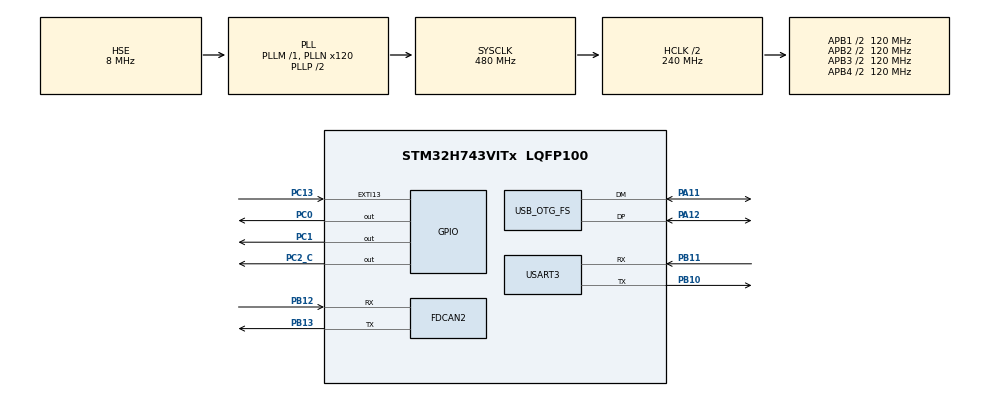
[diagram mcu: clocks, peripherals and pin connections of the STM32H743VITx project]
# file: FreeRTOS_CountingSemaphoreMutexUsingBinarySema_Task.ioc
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FDCAN2.CalculateBaudRateNominal=800000
FDCAN2.CalculateTimeBitNominal=1250
FDCAN2.CalculateTimeQuantumNominal=250.0
Mcu.Family=STM32H7
Mcu.Name=STM32H743VITx
Mcu.Package=LQFP100
NVIC.EXTI15_10_IRQn=true\:5\:0\:true\:false\:true\:true\:true\:true
NVIC.FDCAN2_IT0_IRQn=true\:0\:0\:false\:false\:true\:true\:true\:true
NVIC.FDCAN2_IT1_IRQn=true\:0\:0\:false\:false\:true\:true\:true\:true
NVIC.PriorityGroup=NVIC_PRIORITYGROUP_4
NVIC.TIM6_DAC_IRQn=true\:15\:0\:false\:false\:true\:false\:true\:true
NVIC.TimeBase=TIM6_DAC_IRQn
NVIC.TimeBaseIP=TIM6
NVIC.USART3_IRQn=true\:0\:0\:false\:false\:true\:true\:true\:true
PA11.Mode=Host_Only
PA11.Signal=USB_OTG_FS_DM
PA12.Mode=Host_Only
PA12.Signal=USB_OTG_FS_DP
PA13\ (JTMS/SWDIO).Mode=Trace_Asynchronous_SW
PA13\ (JTMS/SWDIO).Signal=DEBUG_JTMS-SWDIO
PA14\ (JTCK/SWCLK).Mode=Trace_Asynchronous_SW
PA14\ (JTCK/SWCLK).Signal=DEBUG_JTCK-SWCLK
PB10.Mode=Asynchronous
PB10.Signal=USART3_TX
PB11.Mode=Asynchronous
PB11.Signal=USART3_RX
PB12.Mode=FDCAN_Activate
PB12.Signal=FDCAN2_RX
PB13.Mode=FDCAN_Activate
PB13.Signal=FDCAN2_TX
PB3\ (JTDO/TRACESWO).Mode=Trace_Asynchronous_SW
PB3\ (JTDO/TRACESWO).Signal=DEBUG_JTDO-SWO
PC0.Signal=GPIO_Output
PC1.Signal=GPIO_Output
PC13.GPIO_ModeDefaultEXTI=GPIO_MODE_IT_RISING
PC13.GPIO_PuPd=GPIO_NOPULL
PC13.Signal=GPXTI13
PC2_C.Signal=GPIO_Output
PH0-OSC_IN\ (PH0).Mode=HSE-External-Oscillator
PH0-OSC_IN\ (PH0).Signal=RCC_OSC_IN
PH1-OSC_OUT\ (PH1).Mode=HSE-External-Oscillator
PH1-OSC_OUT\ (PH1).Signal=RCC_OSC_OUT
ProjectManager.HeapSize=0x200
ProjectManager.StackSize=0x400
ProjectManager.TargetToolchain=STM32CubeIDE
RCC.ADCFreq_Value=16125000
RCC.APB1Freq_Value=120000000
RCC.APB2Freq_Value=120000000
RCC.APB3Freq_Value=120000000
RCC.APB4Freq_Value=120000000
RCC.CortexFreq_Value=480000000
RCC.D1PPRE=RCC_APB3_DIV2
RCC.D2PPRE1=RCC_APB1_DIV2
RCC.D2PPRE2=RCC_APB2_DIV2
RCC.D3PPRE=RCC_APB4_DIV2
RCC.DIVM1=1
RCC.DIVN1=120
RCC.DIVQ1=15
RCC.HCLKFreq_Value=240000000
RCC.HPRE=RCC_HCLK_DIV2
RCC.HSE_VALUE=8000000
RCC.PLL1_VCI_Range-AdvancedSettings=RCC_PLL1VCIRANGE_0
RCC.PLL2FRACN=0
RCC.PLL2_VCI_Range-AdvancedSettings=RCC_PLL2VCIRANGE_0
RCC.PLL2_VCO_SEL-AdvancedSettings=RCC_PLL2VCOMEDIUM
RCC.PLL3FRACN=0
RCC.PLL3_VCI_Range-AdvancedSettings=RCC_PLL3VCIRANGE_0
RCC.PLL3_VCO_SEL-AdvancedSettings=RCC_PLL3VCOMEDIUM
RCC.PLLFRACN=0
RCC.PLLSourceVirtual=RCC_PLLSOURCE_HSE
RCC.SYSCLKFreq_VALUE=480000000
RCC.SYSCLKSource=RCC_SYSCLKSOURCE_PLLCLK
RCC.USBFreq_Value=64000000
USART3.VirtualMode-Asynchronous=VM_ASYNC
USB_OTG_FS.VirtualMode=Host_Only
USB_OTG_FS.phy_itface=HCD_PHY_EMBEDDED
VP_SYS_VS_tim6.Mode=TIM6
board=custom

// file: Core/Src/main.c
/* USER CODE BEGIN Header */
/**
  ******************************************************************************
  * @file           : main.c
  * @brief          : Main program body
  ******************************************************************************
  * @attention
  *
  * Copyright (c) 2022 STMicroelectronics.
  * All rights reserved.
  *
  * This software is licensed under terms that can be found in the LICENSE file
  * in the root directory of this software component.
  * If no LICENSE file comes with this software, it is provided AS-IS.
  *
  ******************************************************************************
  */
/* USER CODE END Header */
#include "main.h"

FDCAN_HandleTypeDef hfdcan2;

UART_HandleTypeDef huart3;

HCD_HandleTypeDef hhcd_USB_OTG_FS;

/* USER CODE BEGIN PV */
TaskHandle_t xTaskHandle1=NULL;
TaskHandle_t xTaskHandle2=NULL;

/* Declare a variable of type xSemaphoreHandle.  This is used to reference the
semaphore that is used to synchronize a task with an interrupt. */
xSemaphoreHandle xCountingSemaphore;
/* USER CODE END PV */

void SystemClock_Config(void);
static void MX_GPIO_Init(void);
static void MX_FDCAN2_Init(void);
static void MX_USB_OTG_FS_HCD_Init(void);
static void MX_USART3_UART_Init(void);
/* USER CODE BEGIN PFP */
extern void SEGGER_UART_init(U32 baud);
void printmsg(char *format,...);
void USART_Send(char* user_data);
/* The tasks to be created. */
static void vHandlerTask( void *pvParameters );
static void vPeriodicTask( void *pvParameters );
/* USER CODE END PFP */

/* USER CODE BEGIN 0 */
char user_msg[250];
char *user_data = "";
char usr_msg[250]={0};

//#ifdef USE_SEMIHOSTING
//extern void initialise_monitor_handles(void);
//#endif
/* USER CODE END 0 */

int main(void)
{

  /* MCU Configuration--------------------------------------------------------*/

  /* Reset of all peripherals, Initializes the Flash interface and the Systick. */
  HAL_Init();

  /* Configure the system clock */
  SystemClock_Config();

  /* Initialize all configured peripherals */
  MX_GPIO_Init();
  MX_FDCAN2_Init();
  MX_USB_OTG_FS_HCD_Init();
  MX_USART3_UART_Init();
  /* USER CODE BEGIN 2 */
  // Start LED
    int Start_Counter = 0;
    while(Start_Counter < 5)
    {
  	  HAL_GPIO_TogglePin(GPIOC, LED_Blue_PIN);
  	  HAL_Delay(200);
  	  HAL_GPIO_TogglePin(GPIOC, LED_Blue_PIN);
  	  HAL_Delay(200);
  	  Start_Counter++;
    }

    //user_data = "Start of program\r\n";
    	//HAL_UART_Transmit(&huart2,(uint8_t*)user_data,strlen(user_data), HAL_MAX_DELAY);

    	// Enable CCYCCNT Counter for SEGGER SYSTEM VIEW
    	DWT->CTRL |= (1 << 0);

    	// Used for SEGGER UART
    	SEGGER_UART_init(500000);

    	//Starting SEGGER SYSVIEW
    	  SEGGER_SYSVIEW_Conf();
    	  //SEGGER_SYSVIEW_Start();

	  sprintf(usr_msg,"Demo of usage of counting semaphore\r\n");
	  USART_Send(usr_msg);

		  /* Before a semaphore is used it must be explicitly created.  In this example
		a counting semaphore is created.  The semaphore is created to have a maximum
		count value of 10, and an initial count value of 0. */
		  xCountingSemaphore = xSemaphoreCreateCounting( 10, 0 );

		/* Check the semaphore was created successfully. */
		if( xCountingSemaphore != NULL )
		{

			/* Create the 'handler' task.  This is the task that will be synchronized
			with the interrupt.  The handler task is created with a high priority to
			ensure it runs immediately after the interrupt exits.  In this case a
			priority of 3 is chosen. */
			xTaskCreate( vHandlerTask, "Handler", 500, NULL, 1, NULL );

			/* Create the task that will periodically generate a software interrupt.
			This is created with a priority below the handler task to ensure it will
			get preempted each time the handler task exist the Blocked state. */
			xTaskCreate( vPeriodicTask, "Periodic", 500, NULL, 3, NULL );

			/* Start the scheduler so the created tasks start executing. */
			vTaskStartScheduler();
		}

		  /* If all is well we will never reach here as the scheduler will now be
		  running the tasks.  If we do reach here then it is likely that there was
		  insufficient heap memory available for a resource to be created. */
		for( ;; );

  /* USER CODE END 2 */

  /* Infinite loop */
  while (1)
  {

    /* USER CODE BEGIN 3 */
  	  HAL_GPIO_TogglePin(GPIOC, LED_Green_PIN);
  	  HAL_Delay(500);
  	  HAL_GPIO_TogglePin(GPIOC, LED_Green_PIN);
  	  HAL_Delay(500);
  	  Start_Counter++;
  }
  /* USER CODE END 3 */
}

void SystemClock_Config(void)
{
  RCC_OscInitTypeDef RCC_OscInitStruct = {0};
  RCC_ClkInitTypeDef RCC_ClkInitStruct = {0};

  /** Supply configuration update enable
  */
  HAL_PWREx_ConfigSupply(PWR_LDO_SUPPLY);

  /** Configure the main internal regulator output voltage
  */
  __HAL_PWR_VOLTAGESCALING_CONFIG(PWR_REGULATOR_VOLTAGE_SCALE1);

  while(!__HAL_PWR_GET_FLAG(PWR_FLAG_VOSRDY)) {}

  __HAL_RCC_SYSCFG_CLK_ENABLE();
  __HAL_PWR_VOLTAGESCALING_CONFIG(PWR_REGULATOR_VOLTAGE_SCALE0);

  while(!__HAL_PWR_GET_FLAG(PWR_FLAG_VOSRDY)) {}

  /** Initializes the RCC Oscillators according to the specified parameters
  * in the RCC_OscInitTypeDef structure.
  */
  RCC_OscInitStruct.OscillatorType = RCC_OSCILLATORTYPE_HSE;
  RCC_OscInitStruct.HSEState = RCC_HSE_ON;
  RCC_OscInitStruct.PLL.PLLState = RCC_PLL_ON;
  RCC_OscInitStruct.PLL.PLLSource = RCC_PLLSOURCE_HSE;
  RCC_OscInitStruct.PLL.PLLM = 1;
  RCC_OscInitStruct.PLL.PLLN = 120;
  RCC_OscInitStruct.PLL.PLLP = 2;
  RCC_OscInitStruct.PLL.PLLQ = 15;
  RCC_OscInitStruct.PLL.PLLR = 2;
  RCC_OscInitStruct.PLL.PLLRGE = RCC_PLL1VCIRANGE_3;
  RCC_OscInitStruct.PLL.PLLVCOSEL = RCC_PLL1VCOWIDE;
  RCC_OscInitStruct.PLL.PLLFRACN = 0;
  if (HAL_RCC_OscConfig(&RCC_OscInitStruct) != HAL_OK)
  {
    Error_Handler();
  }

  /** Initializes the CPU, AHB and APB buses clocks
  */
  RCC_ClkInitStruct.ClockType = RCC_CLOCKTYPE_HCLK|RCC_CLOCKTYPE_SYSCLK
                              |RCC_CLOCKTYPE_PCLK1|RCC_CLOCKTYPE_PCLK2
                              |RCC_CLOCKTYPE_D3PCLK1|RCC_CLOCKTYPE_D1PCLK1;
  RCC_ClkInitStruct.SYSCLKSource = RCC_SYSCLKSOURCE_PLLCLK;
  RCC_ClkInitStruct.SYSCLKDivider = RCC_SYSCLK_DIV1;
  RCC_ClkInitStruct.AHBCLKDivider = RCC_HCLK_DIV2;
  RCC_ClkInitStruct.APB3CLKDivider = RCC_APB3_DIV2;
  RCC_ClkInitStruct.APB1CLKDivider = RCC_APB1_DIV2;
  RCC_ClkInitStruct.APB2CLKDivider = RCC_APB2_DIV2;
  RCC_ClkInitStruct.APB4CLKDivider = RCC_APB4_DIV2;

  if (HAL_RCC_ClockConfig(&RCC_ClkInitStruct, FLASH_LATENCY_4) != HAL_OK)
  {
    Error_Handler();
  }
}

static void MX_FDCAN2_Init(void)
{

  hfdcan2.Instance = FDCAN2;
  hfdcan2.Init.FrameFormat = FDCAN_FRAME_CLASSIC;
  hfdcan2.Init.Mode = FDCAN_MODE_NORMAL;
  hfdcan2.Init.AutoRetransmission = DISABLE;
  hfdcan2.Init.TransmitPause = DISABLE;
  hfdcan2.Init.ProtocolException = DISABLE;
  hfdcan2.Init.NominalPrescaler = 16;
  hfdcan2.Init.NominalSyncJumpWidth = 1;
  hfdcan2.Init.NominalTimeSeg1 = 2;
  hfdcan2.Init.NominalTimeSeg2 = 2;
  hfdcan2.Init.DataPrescaler = 1;
  hfdcan2.Init.DataSyncJumpWidth = 1;
  hfdcan2.Init.DataTimeSeg1 = 1;
  hfdcan2.Init.DataTimeSeg2 = 1;
  hfdcan2.Init.MessageRAMOffset = 0;
  hfdcan2.Init.StdFiltersNbr = 0;
  hfdcan2.Init.ExtFiltersNbr = 0;
  hfdcan2.Init.RxFifo0ElmtsNbr = 0;
  hfdcan2.Init.RxFifo0ElmtSize = FDCAN_DATA_BYTES_8;
  hfdcan2.Init.RxFifo1ElmtsNbr = 0;
  hfdcan2.Init.RxFifo1ElmtSize = FDCAN_DATA_BYTES_8;
  hfdcan2.Init.RxBuffersNbr = 0;
  hfdcan2.Init.RxBufferSize = FDCAN_DATA_BYTES_8;
  hfdcan2.Init.TxEventsNbr = 0;
  hfdcan2.Init.TxBuffersNbr = 0;
  hfdcan2.Init.TxFifoQueueElmtsNbr = 0;
  hfdcan2.Init.TxFifoQueueMode = FDCAN_TX_FIFO_OPERATION;
  hfdcan2.Init.TxElmtSize = FDCAN_DATA_BYTES_8;
  if (HAL_FDCAN_Init(&hfdcan2) != HAL_OK)
  {
    Error_Handler();
  }

}

static void MX_USART3_UART_Init(void)
{

  huart3.Instance = USART3;
  huart3.Init.BaudRate = 115200;
  huart3.Init.WordLength = UART_WORDLENGTH_8B;
  huart3.Init.StopBits = UART_STOPBITS_1;
  huart3.Init.Parity = UART_PARITY_NONE;
  huart3.Init.Mode = UART_MODE_TX_RX;
  huart3.Init.HwFlowCtl = UART_HWCONTROL_NONE;
  huart3.Init.OverSampling = UART_OVERSAMPLING_16;
  huart3.Init.OneBitSampling = UART_ONE_BIT_SAMPLE_DISABLE;
  huart3.Init.ClockPrescaler = UART_PRESCALER_DIV1;
  huart3.AdvancedInit.AdvFeatureInit = UART_ADVFEATURE_NO_INIT;
  if (HAL_UART_Init(&huart3) != HAL_OK)
  {
    Error_Handler();
  }
  if (HAL_UARTEx_SetTxFifoThreshold(&huart3, UART_TXFIFO_THRESHOLD_1_8) != HAL_OK)
  {
    Error_Handler();
  }
  if (HAL_UARTEx_SetRxFifoThreshold(&huart3, UART_RXFIFO_THRESHOLD_1_8) != HAL_OK)
  {
    Error_Handler();
  }
  if (HAL_UARTEx_DisableFifoMode(&huart3) != HAL_OK)
  {
    Error_Handler();
  }

}

static void MX_USB_OTG_FS_HCD_Init(void)
{

  hhcd_USB_OTG_FS.Instance = USB_OTG_FS;
  hhcd_USB_OTG_FS.Init.Host_channels = 16;
  hhcd_USB_OTG_FS.Init.speed = HCD_SPEED_FULL;
  hhcd_USB_OTG_FS.Init.dma_enable = DISABLE;
  hhcd_USB_OTG_FS.Init.phy_itface = HCD_PHY_EMBEDDED;
  hhcd_USB_OTG_FS.Init.Sof_enable = DISABLE;
  if (HAL_HCD_Init(&hhcd_USB_OTG_FS) != HAL_OK)
  {
    Error_Handler();
  }

}

static void MX_GPIO_Init(void)
{
  GPIO_InitTypeDef GPIO_InitStruct = {0};

  /* GPIO Ports Clock Enable */
  __HAL_RCC_GPIOC_CLK_ENABLE();
  __HAL_RCC_GPIOH_CLK_ENABLE();
  __HAL_RCC_GPIOB_CLK_ENABLE();
  __HAL_RCC_GPIOA_CLK_ENABLE();

  /*Configure GPIO pin Output Level */
  HAL_GPIO_WritePin(GPIOC, GPIO_PIN_0|GPIO_PIN_1|GPIO_PIN_2, GPIO_PIN_SET);

  /*Configure GPIO pin : PC13 */
  GPIO_InitStruct.Pin = GPIO_PIN_13;
  GPIO_InitStruct.Mode = GPIO_MODE_IT_RISING;
  GPIO_InitStruct.Pull = GPIO_NOPULL;
  HAL_GPIO_Init(GPIOC, &GPIO_InitStruct);

  /*Configure GPIO pins : PC0 PC1 PC2 */
  GPIO_InitStruct.Pin = GPIO_PIN_0|GPIO_PIN_1|GPIO_PIN_2;
  GPIO_InitStruct.Mode = GPIO_MODE_OUTPUT_PP;
  GPIO_InitStruct.Pull = GPIO_NOPULL;
  GPIO_InitStruct.Speed = GPIO_SPEED_FREQ_LOW;
  HAL_GPIO_Init(GPIOC, &GPIO_InitStruct);

  /* EXTI interrupt init*/
  HAL_NVIC_SetPriority(EXTI15_10_IRQn, 5, 0);
  HAL_NVIC_EnableIRQ(EXTI15_10_IRQn);

}

/* USER CODE BEGIN 4 */

static void vHandlerTask( void *pvParameters )
{
	/* As per most tasks, this task is implemented within an infinite loop. */
	for( ;; )
	{
		/* Use the semaphore to wait for the event.  The semaphore was created
		before the scheduler was started so before this task ran for the first
		time.  The task blocks indefinitely meaning this function call will only
		return once the semaphore has been successfully obtained - so there is no
		need to check the returned value. */
		xSemaphoreTake( xCountingSemaphore, portMAX_DELAY );

		/* To get here the event must have occurred.  Process the event (in this
		case we just print out a message). */
		sprintf(usr_msg, "Handler task - Processing event.\r\n");
		USART_Send(usr_msg);
	}
}
/*-----------------------------------------------------------*/

static void vPeriodicTask( void *pvParameters )
{
	/* As per most tasks, this task is implemented within an infinite loop. */
	for( ;; )
	{
		/* This task is just used to 'simulate' an interrupt.  This is done by
		periodically generating a software interrupt. */
		vTaskDelay( pdMS_TO_TICKS(500) );

		/* Generate the interrupt, printing a message both before hand and
		afterwards so the sequence of execution is evident from the output. */
        sprintf(usr_msg, "Periodic task - Pending the interrupt.\r\n" );
        USART_Send(usr_msg);

        //pend the interrupt
        NVIC_SetPendingIRQ(EXTI15_10_IRQn);

        sprintf(usr_msg, "Periodic task - Resuming.\r\n" );
        USART_Send(usr_msg);

	}
}

//void printmsg(char *format,...)
// {
//
//	char str[80];
//
//	/*Extract the the argument list using VA apis */
//	va_list args;
//	va_start(args, format);
//	vsprintf(str, format,args);
//	HAL_UART_Transmit(&huart2,(uint8_t *)str, strlen(str),HAL_MAX_DELAY);
//	va_end(args);
//
// }

void USART_Send(char* user_data)
{
	if (HAL_UART_Transmit(&huart3,(uint8_t*)user_data,strlen(user_data), HAL_MAX_DELAY) != HAL_OK)
	{
		// Error occurred
		Error_Handler();
	}
}

/* USER CODE END 4 */

void HAL_TIM_PeriodElapsedCallback(TIM_HandleTypeDef *htim)
{
  if (htim->Instance == TIM6) {
    HAL_IncTick();
  }
}

void Error_Handler(void)
{
  /* USER CODE BEGIN Error_Handler_Debug */
  /* User can add his own implementation to report the HAL error return state */
  __disable_irq();
  while (1)
  {
		HAL_GPIO_TogglePin(GPIOC, LED_Red_PIN);
		HAL_Delay(100);
		HAL_GPIO_TogglePin(GPIOC, LED_Red_PIN);
		HAL_Delay(100);
  }
  /* USER CODE END Error_Handler_Debug */
}
